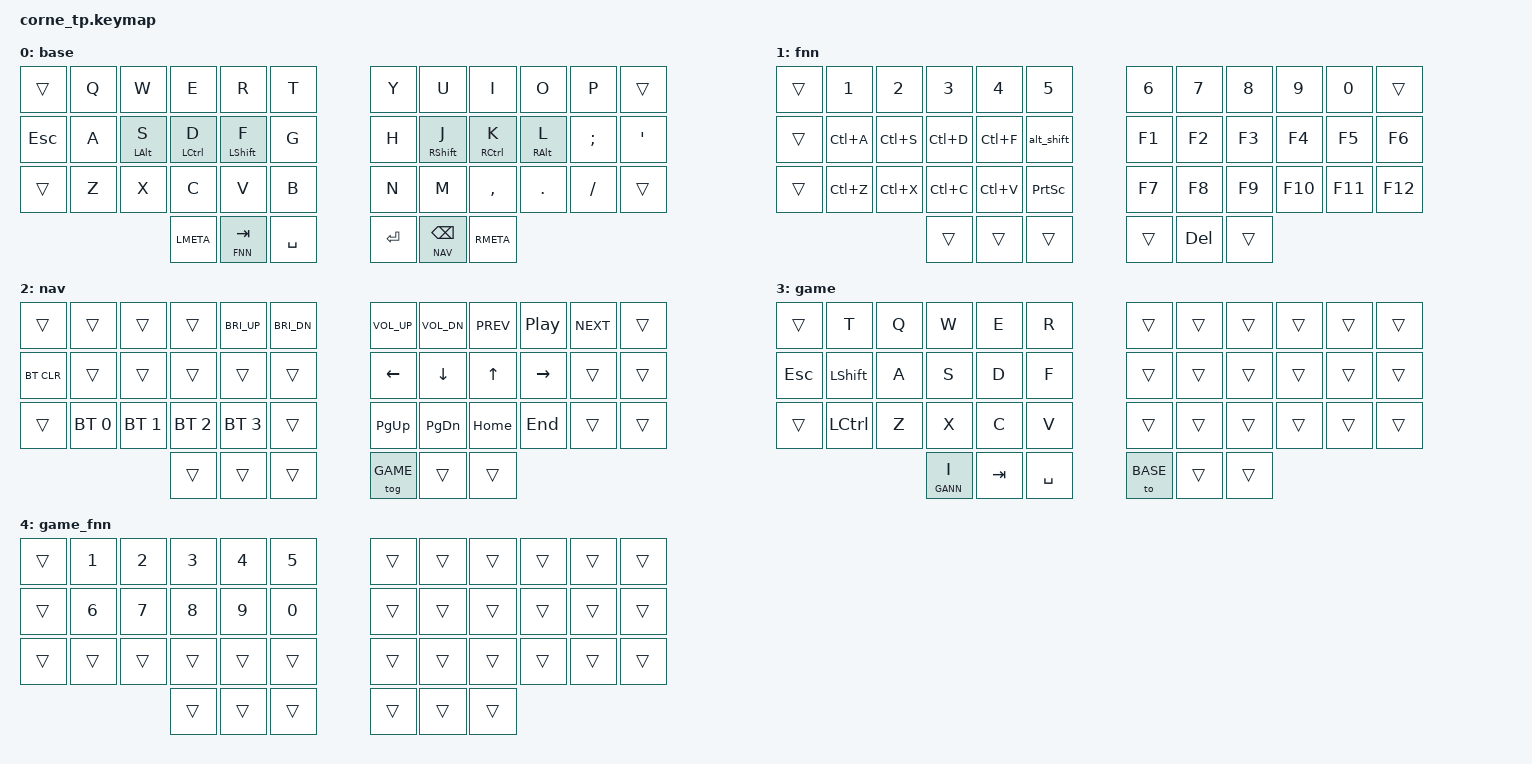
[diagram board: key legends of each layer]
/*
 * Copyright (c) 2020 The ZMK Contributors
 *
 * SPDX-License-Identifier: MIT
 */

#define BASE 0
#define FNN  1
#define NAV  2
#define GAME 3
#define GANN 4

#include <behaviors.dtsi>
#include <dt-bindings/zmk/bt.h>
#include <dt-bindings/zmk/keys.h>

/ {
    macros {
        ZMK_MACRO(alt_shift,
            wait-ms = <10>;
            tap-ms = <10>;
            bindings
                = <&macro_press &kp LALT>
                , <&macro_press &kp LSHFT>
                , <&macro_release &kp LSHFT>
                , <&macro_release &kp LALT>
                ;
        )
    };

    combos {
        compatible = "zmk,combos";

        combo_layout_switch {
            key-positions = <5 6>;
            bindings = <&alt_shift>;
            layers = <0>;
        };

        combo_term_copy {
            timeout-ms = <50>;
            key-positions = <25 27>;
            bindings = <&kp LC(LS(C))>;
        };

        combo_term_paste {
            timeout-ms = <50>;
            key-positions = <25 28>;
            bindings = <&kp LC(LS(V))>;
        };

        combo_parentheses_left {
            bindings = <&kp LEFT_PARENTHESIS>;
            key-positions = <16 15>;
            layers = <0>;
        };

        combo_parentheses_right {
            bindings = <&kp RIGHT_PARENTHESIS>;
            key-positions = <19 20>;
            layers = <0>;
        };

        combo_bracket_left {
            bindings = <&kp LEFT_BRACKET>;
            key-positions = <3 4>;
            layers = <0>;
        };

        combo_bracket_right {
            bindings = <&kp RIGHT_BRACKET>;
            key-positions = <8 7>;
            layers = <0>;
        };

        combo_brace_left {
            bindings = <&kp LEFT_BRACE>;
            key-positions = <27 28>;
            layers = <0>;
        };

        combo_brace_right {
            bindings = <&kp RIGHT_BRACE>;
            key-positions = <31 32>;
            layers = <0>;
        };

        combo_caret {
            bindings = <&kp CARET>;
            key-positions = <20 21>;
            layers = <0>;
        };

        combo_grave {
            bindings = <&kp GRAVE>;
            key-positions = <15 14>;
            layers = <0>;
        };

        combo_less_than {
            bindings = <&kp LESS_THAN>;
            key-positions = <2 3>;
            layers = <0>;
        };

        combo_bigger_than {
            bindings = <&kp GREATER_THAN>;
            key-positions = <8 9>;
            layers = <0>;
        };

        combo_hyphen {
            bindings = <&kp MINUS>;
            key-positions = <28 31>;
            layers = <0>;
        };

        combo_plus {
            bindings = <&kp PLUS>;
            key-positions = <4 7>;
            layers = <0>;
        };

        combo_equal {
            bindings = <&kp EQUAL>;
            key-positions = <16 19>;
            layers = <0>;
        };

        combo_pipe {
            bindings = <&kp PIPE>;
            key-positions = <27 26>;
            layers = <0>;
        };

        combo_astrsk {
            bindings = <&kp ASTERISK>;
            key-positions = <3 8>;
            layers = <0>;
        };

        combo_dollar {
            bindings = <&kp DOLLAR>;
            key-positions = <15 20>;
            layers = <0>;
        };

        combo_hash {
            bindings = <&kp HASH>;
            key-positions = <32 33>;
            layers = <0>;
        };

        combo_excl {
            bindings = <&kp EXCL>;
            key-positions = <27 32>;
            layers = <0>;
        };

        combo_ampersand {
            bindings = <&kp AMPERSAND>;
            key-positions = <17 18>;
            layers = <0>;
        };

        combo_underscore {
            bindings = <&kp UNDERSCORE>;
            key-positions = <29 30>;
            layers = <0>;
        };

        combo_backslash {
            bindings = <&kp BACKSLASH>;
            key-positions = <21 22>;
            layers = <0>;
        };

        combo_tilde {
            bindings = <&kp TILDE>;
            key-positions = <14 13>;
            layers = <0>;
        };
    };

    keymap {
        compatible = "zmk,keymap";

        base {
            bindings = <
&trans   &kp Q  &kp W       &kp E        &kp R         &kp T      &kp Y      &kp U         &kp I        &kp O       &kp P     &trans
&kp ESC  &kp A  &mt LALT S  &mt LCTRL D  &mt LSHIFT F  &kp G      &kp H      &mt RSHIFT J  &mt RCTRL K  &mt RALT L  &kp SEMI  &kp SQT
&trans   &kp Z  &kp X       &kp C        &kp V         &kp B      &kp N      &kp M         &kp COMMA    &kp DOT     &kp FSLH  &trans
                            &kp LMETA    &lt FNN TAB   &kp SPACE  &kp ENTER  &lt NAV BSPC  &kp RMETA
            >;
        };

        fnn {
            bindings = <
&trans  &kp N1     &kp N2     &kp N3     &kp N4     &kp N5      &kp N6   &kp N7   &kp N8  &kp N9   &kp N0   &trans
&trans  &kp LC(A)  &kp LC(S)  &kp LC(D)  &kp LC(F)  &alt_shift  &kp F1   &kp F2   &kp F3  &kp F4   &kp F5   &kp F6
&trans  &kp LC(Z)  &kp LC(X)  &kp LC(C)  &kp LC(V)  &kp PSCRN   &kp F7   &kp F8   &kp F9  &kp F10  &kp F11  &kp F12
                              &trans     &trans     &trans      &trans   &kp DEL  &trans
            >;
        };

        nav {
            bindings = <
&trans      &trans        &trans        &trans        &kp C_BRI_UP  &kp C_BRI_DN  &kp C_VOL_UP  &kp C_VOL_DN  &kp C_PREV  &kp C_PP   &kp C_NEXT   &trans
&bt BT_CLR  &trans        &trans        &trans        &trans        &trans        &kp LEFT      &kp DOWN      &kp UP      &kp RIGHT  &trans       &trans
&trans      &bt BT_SEL 0  &bt BT_SEL 1  &bt BT_SEL 2  &bt BT_SEL 3  &trans        &kp PG_UP     &kp PG_DN     &kp HOME    &kp END    &trans       &trans
                                        &trans        &trans        &trans        &tog GAME     &trans        &trans
            >;
        };

        game {
            bindings = <
&trans   &kp T           &kp Q  &kp W       &kp E    &kp R      &trans    &trans  &trans  &trans  &trans  &trans
&kp ESC  &kp LEFT_SHIFT  &kp A  &kp S       &kp D    &kp F      &trans    &trans  &trans  &trans  &trans  &trans
&trans   &kp LCTRL       &kp Z  &kp X       &kp C    &kp V      &trans    &trans  &trans  &trans  &trans  &trans
                                &lt GANN I  &kp TAB  &kp SPACE  &to BASE  &trans  &trans
            >;
        };

        game_fnn {
            bindings = <
&trans  &kp N1  &kp N2  &kp N3  &kp N4  &kp N5  &trans  &trans  &trans  &trans  &trans  &trans
&trans  &kp N6  &kp N7  &kp N8  &kp N9  &kp N0  &trans  &trans  &trans  &trans  &trans  &trans
&trans  &trans  &trans  &trans  &trans  &trans  &trans  &trans  &trans  &trans  &trans   &trans
                        &trans  &trans  &trans  &trans  &trans  &trans
            >;
        };
    };
};

